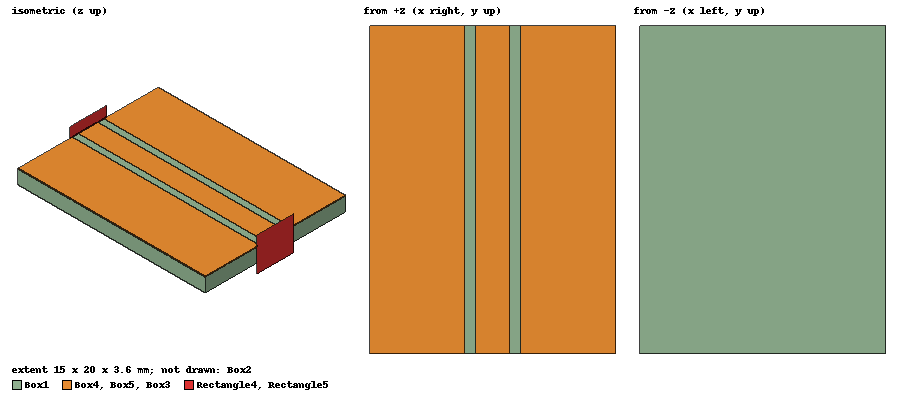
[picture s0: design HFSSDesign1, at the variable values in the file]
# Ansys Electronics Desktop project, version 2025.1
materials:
  vacuum: permittivity=1
  FR4_epoxy: permittivity=4.4 dielectric_loss_tangent=0.02
  air: permittivity=1.0006 permeability=1.0000004
  copper: permeability=0.999991 conductivity=58000000

design HFSSDesign1 (HFSS, HFSS Terminal Network, model units mm)
options: Calculate_Lossy_Dielectrics
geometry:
  Box1 [FR4_epoxy] = box(corner=(-7.5mm, 0mm, 0mm), size=(15mm, 20mm, 1.5mm))
  Rectangle4 = rectangle(corner=(-2mm, 0mm, -1mm), z_size=(2+1.6) mm, x_size=4mm)
  Rectangle5 = rectangle(corner=(-2mm, 20mm, -1mm), z_size=(2+1.6) mm, x_size=4mm)
  Box2 [air] = box(corner=(-10mm, 0mm, -10mm), size=(20mm, 20mm, 20mm))
  Box3 [copper] = box(corner=(-1.03mm, 0mm, 1.5mm), size=(2.06mm, 20mm, 0.018mm))
  Box4 [copper] = box(corner=(-1.7mm, 0mm, 1.5mm), size=(-5.8mm, 20mm, 0.018mm))
  Box5 [copper] = box(corner=(1.7mm, 0mm, 1.5mm), size=(5.8mm, 20mm, 0.018mm))
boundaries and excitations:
  Rad1: Radiation Objects=Box2
  1: Wave Port Objects=Rectangle4 WavePortType=Modal NumModes=1 Modes{Mode1{CharImp=Zpi}}
  2: Wave Port Objects=Rectangle5 WavePortType=Modal NumModes=1 Modes{Mode1{CharImp=Zpi}}
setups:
  Setup1: HfssDriven MultipleAdaptiveFreqsSetup{Low=0GHz High=20GHz} MaxDeltaS=0.02 MaximumPasses=10 MinimumPasses=1 MinimumConvergedPasses=1 PercentRefinement=30 BasisOrder=1 PortAccuracy=2 DrivenSolverType="Direct Solver"
    sweep Sweep: 0GHz to 20GHz, 401 points; Type=Interpolating InterpTolerance=0.5 InterpMaxSolns=250 MinSolvedFreq=0.01GHz PassivityErrorTolerance=0.0001
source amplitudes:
  1:1: 1V 0deg
  2:1: 0V 0deg
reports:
  Port Zo Plot1: re(Zo(1)), re(Zo(2)) vs Freq on Setup1 : Sweep
  S Parameter Plot1: dB(S(1,1)), dB(S(2,1)), dB(S(1,2)), dB(S(2,2)) vs Freq on Setup1 : Sweep
